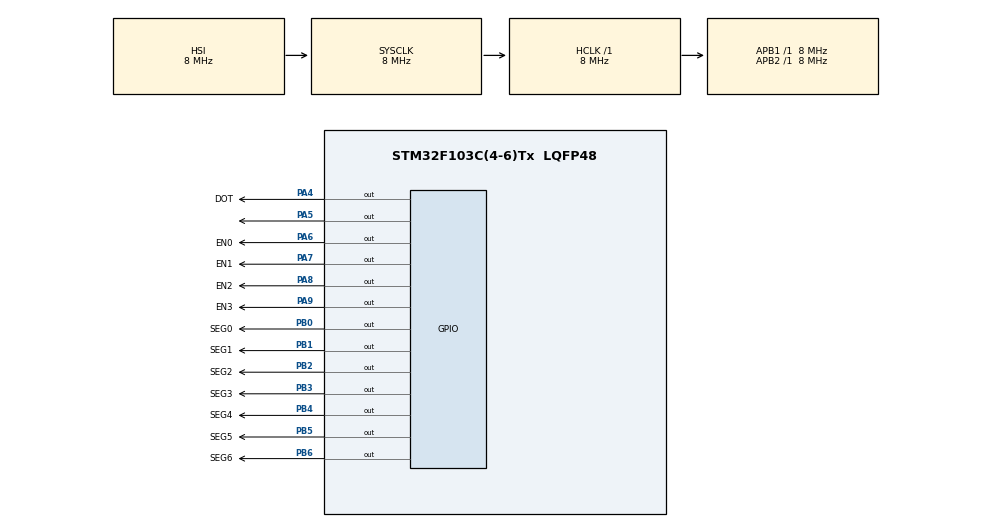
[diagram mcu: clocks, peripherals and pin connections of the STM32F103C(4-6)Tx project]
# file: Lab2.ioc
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Mcu.Family=STM32F1
Mcu.Name=STM32F103C(4-6)Tx
Mcu.Package=LQFP48
NVIC.PriorityGroup=NVIC_PRIORITYGROUP_4
NVIC.TIM2_IRQn=true\:0\:0\:false\:false\:true\:true\:true\:true
PA4.GPIO_Label=DOT
PA4.PinState=GPIO_PIN_SET
PA4.Signal=GPIO_Output
PA5.Signal=GPIO_Output
PA6.GPIO_Label=EN0
PA6.PinState=GPIO_PIN_SET
PA6.Signal=GPIO_Output
PA7.GPIO_Label=EN1
PA7.PinState=GPIO_PIN_SET
PA7.Signal=GPIO_Output
PA8.GPIO_Label=EN2
PA8.PinState=GPIO_PIN_SET
PA8.Signal=GPIO_Output
PA9.GPIO_Label=EN3
PA9.PinState=GPIO_PIN_SET
PA9.Signal=GPIO_Output
PB0.GPIO_Label=SEG0
PB0.Signal=GPIO_Output
PB1.GPIO_Label=SEG1
PB1.Signal=GPIO_Output
PB2.GPIO_Label=SEG2
PB2.Signal=GPIO_Output
PB3.GPIO_Label=SEG3
PB3.Signal=GPIO_Output
PB4.GPIO_Label=SEG4
PB4.Signal=GPIO_Output
PB5.GPIO_Label=SEG5
PB5.Signal=GPIO_Output
PB6.GPIO_Label=SEG6
PB6.PinState=GPIO_PIN_RESET
PB6.Signal=GPIO_Output
ProjectManager.HeapSize=0x200
ProjectManager.StackSize=0x400
ProjectManager.TargetToolchain=Makefile
RCC.AHBFreq_Value=8000000
RCC.APB1Freq_Value=8000000
RCC.APB1TimCLKDivider=1
RCC.APB1TimFreq_Value=8000000
RCC.APB2Freq_Value=8000000
RCC.APB2TimFreq_Value=8000000
RCC.HCLKFreq_Value=8000000
RCC.SYSCLKFreq_VALUE=8000000
RCC.USBFreq_Value=8000000
TIM2.Period=9
TIM2.Prescaler=8000-1
VP_SYS_VS_ND.Mode=No_Debug
VP_TIM2_VS_ClockSourceINT.Mode=Internal
board=custom

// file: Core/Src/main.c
/* USER CODE BEGIN Header */
/**
  ******************************************************************************
  * @file           : main.c
  * @brief          : Main program body
  ******************************************************************************
  * @attention
  *
  * Copyright (c) 2023 STMicroelectronics.
  * All rights reserved.
  *
  * This software is licensed under terms that can be found in the LICENSE file
  * in the root directory of this software component.
  * If no LICENSE file comes with this software, it is provided AS-IS.
  *
  ******************************************************************************
  */
/* USER CODE END Header */
#include "main.h"

/* USER CODE BEGIN PTD */
typedef enum
{
  SEG0,
  SEG1,
  SEG2,
  SEG3
}SegLed;
/* USER CODE END PTD */

TIM_HandleTypeDef htim2;

/* USER CODE BEGIN PV */
SegLed whichSegIsOn = 0;
int hour = 15 , minute = 8 , second = 50;
/* USER CODE END PV */

void SystemClock_Config(void);
static void MX_GPIO_Init(void);
static void MX_TIM2_Init(void);

/* USER CODE BEGIN 0 */

void DisplayNum(uint8_t a, uint8_t b, uint8_t c, uint8_t d, uint8_t e, uint8_t f, uint8_t g )
{
    HAL_GPIO_WritePin(SEG0_GPIO_Port, SEG0_Pin, a);
    HAL_GPIO_WritePin(SEG1_GPIO_Port, SEG1_Pin, b);
    HAL_GPIO_WritePin(SEG2_GPIO_Port, SEG2_Pin, c);
    HAL_GPIO_WritePin(SEG3_GPIO_Port, SEG3_Pin, d);
    HAL_GPIO_WritePin(SEG4_GPIO_Port, SEG4_Pin, e);
    HAL_GPIO_WritePin(SEG5_GPIO_Port, SEG5_Pin, f);
    HAL_GPIO_WritePin(SEG6_GPIO_Port, SEG6_Pin, g);
}

void display7SEG(int num)
{
  switch (num)
  {
  case 0:
    DisplayNum(0, 0, 0, 0, 0, 0, 1);
    break;
  case 1:
    DisplayNum(1, 0, 0, 1, 1, 1, 1);
    break;
  case 2:
    DisplayNum(0, 0, 1, 0, 0, 1, 0);
    break;
  case 3:
    DisplayNum(0, 0, 0, 0, 1, 1, 0);
    break;
  case 4:
    DisplayNum(1, 0, 0, 1, 1, 0, 0);
    break;
  case 5:
    DisplayNum(0, 1, 0, 0, 1, 0, 0);
    break;
  case 6:
    DisplayNum(0, 1, 0, 0, 0, 0, 0);
    break;
  case 7:
    DisplayNum(0, 0, 0, 1, 1, 1, 1);
    break;
  case 8:
    DisplayNum(0, 0, 0, 0, 0, 0, 0);
    break;
  case 9:
    DisplayNum(0, 0, 0, 0, 1, 0, 0);
    break;

  default:
    break;
  }
}

void EnableSeg0()
{
  HAL_GPIO_WritePin(EN0_GPIO_Port, EN0_Pin, 0);
}
void DisableSeg0()
{
  HAL_GPIO_WritePin(EN0_GPIO_Port, EN0_Pin, 1);
}
void EnableSeg1()
{
  HAL_GPIO_WritePin(EN1_GPIO_Port, EN1_Pin, 0);
}
void DisableSeg1()
{
  HAL_GPIO_WritePin(EN1_GPIO_Port, EN1_Pin, 1);
}
void EnableSeg2()
{
  HAL_GPIO_WritePin(EN2_GPIO_Port, EN2_Pin, 0);
}
void DisableSeg2()
{
  HAL_GPIO_WritePin(EN2_GPIO_Port, EN2_Pin, 1);
}
void EnableSeg3()
{
  HAL_GPIO_WritePin(EN3_GPIO_Port, EN3_Pin, 0);
}
void DisableSeg3()
{
  HAL_GPIO_WritePin(EN3_GPIO_Port, EN3_Pin, 1);
}

void ClearAllSeg()
{
  DisableSeg0();
  DisableSeg1();
  DisableSeg2();
  DisableSeg3();
}

void update7SEG(SegLed led)
{
  switch (led)
  {
  case SEG0:
    ClearAllSeg();
    EnableSeg0();
    //display7SEG(1);
    break;

  case SEG1:
    ClearAllSeg();
    EnableSeg1();
    //display7SEG(2);
    break;

  case SEG2:
    ClearAllSeg();
    EnableSeg2();
    //display7SEG(3);
    break;

  case SEG3:
    ClearAllSeg();
    EnableSeg3();
    //display7SEG(0);
    break;

  default:
    break;
  }
}

void updateClockBuffer()
{
  int temp = 0;
  switch (whichSegIsOn)
  {
  case SEG0:
    temp = hour/10;
    display7SEG(temp);
    break;

  case SEG1:
    temp = hour;
    while (temp >= 10)
    {
      temp = temp - 10;
    }
    display7SEG(temp);
    break;

  case SEG2:
    temp = minute/10;
    display7SEG(temp);
    break;

  case SEG3:
    temp = minute;
    while(minute >= 10)
    {
      temp = temp - 10;
    }
    display7SEG(temp);
    break;

  default:
    break;
  }
}
/* USER CODE END 0 */

int main(void)
{

  /* MCU Configuration--------------------------------------------------------*/

  /* Reset of all peripherals, Initializes the Flash interface and the Systick. */
  HAL_Init();

  /* Configure the system clock */
  SystemClock_Config();

  /* Initialize all configured peripherals */
  MX_GPIO_Init();
  MX_TIM2_Init();
  /* USER CODE BEGIN 2 */
  HAL_TIM_Base_Start_IT(&htim2);
  setTimer1(100);
  setTimer2(100);

  //int count = 0;

  /* USER CODE END 2 */

  /* Infinite loop */
  while (1)
  {

    /* USER CODE BEGIN 3 */
    if(timer1_flag)
    {
      HAL_GPIO_TogglePin(DOT_GPIO_Port, DOT_Pin);
      setTimer1(100);
    }

    if(timer2_flag)
    {
      second++;

      if (second >= 60)
      {
          second = 0;
          minute++;
      }

      if(minute >= 60)
      {
          minute = 0;
          hour++;
      }

      if(hour >=24)
      {
          hour = 0;
      }

      updateClockBuffer();
      //HAL_Delay(1000);
      update7SEG(whichSegIsOn);

      whichSegIsOn++;
      if(whichSegIsOn >= 4)
        whichSegIsOn = 0;

      setTimer2(100);
    }

    HAL_Delay(10);
  }
  /* USER CODE END 3 */
}

void SystemClock_Config(void)
{
  RCC_OscInitTypeDef RCC_OscInitStruct = {0};
  RCC_ClkInitTypeDef RCC_ClkInitStruct = {0};

  /** Initializes the RCC Oscillators according to the specified parameters
  * in the RCC_OscInitTypeDef structure.
  */
  RCC_OscInitStruct.OscillatorType = RCC_OSCILLATORTYPE_HSI;
  RCC_OscInitStruct.HSIState = RCC_HSI_ON;
  RCC_OscInitStruct.HSICalibrationValue = RCC_HSICALIBRATION_DEFAULT;
  RCC_OscInitStruct.PLL.PLLState = RCC_PLL_NONE;
  if (HAL_RCC_OscConfig(&RCC_OscInitStruct) != HAL_OK)
  {
    Error_Handler();
  }

  /** Initializes the CPU, AHB and APB buses clocks
  */
  RCC_ClkInitStruct.ClockType = RCC_CLOCKTYPE_HCLK|RCC_CLOCKTYPE_SYSCLK
                              |RCC_CLOCKTYPE_PCLK1|RCC_CLOCKTYPE_PCLK2;
  RCC_ClkInitStruct.SYSCLKSource = RCC_SYSCLKSOURCE_HSI;
  RCC_ClkInitStruct.AHBCLKDivider = RCC_SYSCLK_DIV1;
  RCC_ClkInitStruct.APB1CLKDivider = RCC_HCLK_DIV1;
  RCC_ClkInitStruct.APB2CLKDivider = RCC_HCLK_DIV1;

  if (HAL_RCC_ClockConfig(&RCC_ClkInitStruct, FLASH_LATENCY_0) != HAL_OK)
  {
    Error_Handler();
  }
}

static void MX_TIM2_Init(void)
{

  TIM_ClockConfigTypeDef sClockSourceConfig = {0};
  TIM_MasterConfigTypeDef sMasterConfig = {0};

  htim2.Instance = TIM2;
  htim2.Init.Prescaler = 8000-1;
  htim2.Init.CounterMode = TIM_COUNTERMODE_UP;
  htim2.Init.Period = 9;
  htim2.Init.ClockDivision = TIM_CLOCKDIVISION_DIV1;
  htim2.Init.AutoReloadPreload = TIM_AUTORELOAD_PRELOAD_DISABLE;
  if (HAL_TIM_Base_Init(&htim2) != HAL_OK)
  {
    Error_Handler();
  }
  sClockSourceConfig.ClockSource = TIM_CLOCKSOURCE_INTERNAL;
  if (HAL_TIM_ConfigClockSource(&htim2, &sClockSourceConfig) != HAL_OK)
  {
    Error_Handler();
  }
  sMasterConfig.MasterOutputTrigger = TIM_TRGO_RESET;
  sMasterConfig.MasterSlaveMode = TIM_MASTERSLAVEMODE_DISABLE;
  if (HAL_TIMEx_MasterConfigSynchronization(&htim2, &sMasterConfig) != HAL_OK)
  {
    Error_Handler();
  }

}

static void MX_GPIO_Init(void)
{
  GPIO_InitTypeDef GPIO_InitStruct = {0};

  /* GPIO Ports Clock Enable */
  __HAL_RCC_GPIOA_CLK_ENABLE();
  __HAL_RCC_GPIOB_CLK_ENABLE();

  /*Configure GPIO pin Output Level */
  HAL_GPIO_WritePin(GPIOA, DOT_Pin|EN0_Pin|EN1_Pin|EN2_Pin
                          |EN3_Pin, GPIO_PIN_SET);

  /*Configure GPIO pin Output Level */
  HAL_GPIO_WritePin(GPIOA, GPIO_PIN_5, GPIO_PIN_RESET);

  /*Configure GPIO pin Output Level */
  HAL_GPIO_WritePin(GPIOB, SEG0_Pin|SEG1_Pin|SEG2_Pin|SEG3_Pin
                          |SEG4_Pin|SEG5_Pin|SEG6_Pin, GPIO_PIN_RESET);

  /*Configure GPIO pins : DOT_Pin PA5 EN0_Pin EN1_Pin
                           EN2_Pin EN3_Pin */
  GPIO_InitStruct.Pin = DOT_Pin|GPIO_PIN_5|EN0_Pin|EN1_Pin
                          |EN2_Pin|EN3_Pin;
  GPIO_InitStruct.Mode = GPIO_MODE_OUTPUT_PP;
  GPIO_InitStruct.Pull = GPIO_NOPULL;
  GPIO_InitStruct.Speed = GPIO_SPEED_FREQ_LOW;
  HAL_GPIO_Init(GPIOA, &GPIO_InitStruct);

  /*Configure GPIO pins : SEG0_Pin SEG1_Pin SEG2_Pin SEG3_Pin
                           SEG4_Pin SEG5_Pin SEG6_Pin */
  GPIO_InitStruct.Pin = SEG0_Pin|SEG1_Pin|SEG2_Pin|SEG3_Pin
                          |SEG4_Pin|SEG5_Pin|SEG6_Pin;
  GPIO_InitStruct.Mode = GPIO_MODE_OUTPUT_PP;
  GPIO_InitStruct.Pull = GPIO_NOPULL;
  GPIO_InitStruct.Speed = GPIO_SPEED_FREQ_LOW;
  HAL_GPIO_Init(GPIOB, &GPIO_InitStruct);

}

/* USER CODE BEGIN 4 */
void HAL_TIM_PeriodElapsedCallback ( TIM_HandleTypeDef * htim )
{
  timerRun();
}
/* USER CODE END 4 */

void Error_Handler(void)
{
  __disable_irq();
  while (1)
  {
  }
}
